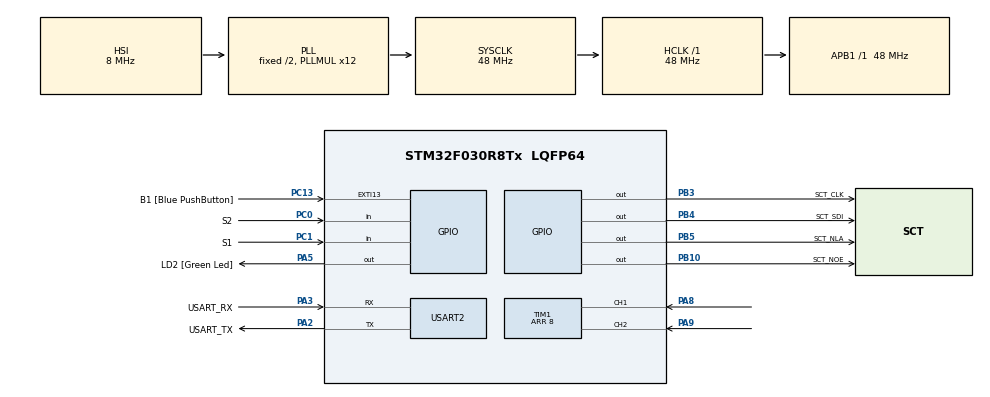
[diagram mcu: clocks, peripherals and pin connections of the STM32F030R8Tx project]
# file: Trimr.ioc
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Mcu.Family=STM32F0
Mcu.Name=STM32F030R8Tx
Mcu.Package=LQFP64
PA13.GPIO_Label=TMS
PA13.Mode=Serial_Wire
PA13.Signal=SYS_SWDIO
PA14.GPIO_Label=TCK
PA14.Mode=Serial_Wire
PA14.Signal=SYS_SWCLK
PA2.GPIO_Label=USART_TX
PA2.GPIO_Mode=GPIO_MODE_AF_PP
PA2.GPIO_PuPd=GPIO_NOPULL
PA2.GPIO_Speed=GPIO_SPEED_FREQ_LOW
PA2.Mode=Asynchronous
PA2.Signal=USART2_TX
PA3.GPIO_Label=USART_RX
PA3.GPIO_Mode=GPIO_MODE_AF_PP
PA3.GPIO_PuPd=GPIO_NOPULL
PA3.GPIO_Speed=GPIO_SPEED_FREQ_LOW
PA3.Mode=Asynchronous
PA3.Signal=USART2_RX
PA5.GPIO_Label=LD2 [Green Led]
PA5.GPIO_Mode=GPIO_MODE_OUTPUT_PP
PA5.GPIO_PuPd=GPIO_NOPULL
PA5.GPIO_Speed=GPIO_SPEED_FREQ_LOW
PA5.Signal=GPIO_Output
PA8.Signal=S_TIM1_CH1
PA9.Signal=S_TIM1_CH2
PB10.GPIO_Label=SCT_NOE
PB10.Signal=GPIO_Output
PB3.GPIO_Label=SCT_CLK
PB3.Signal=GPIO_Output
PB4.GPIO_Label=SCT_SDI
PB4.Signal=GPIO_Output
PB5.GPIO_Label=SCT_NLA
PB5.Signal=GPIO_Output
PC0.GPIO_Label=S2
PC0.GPIO_PuPd=GPIO_PULLUP
PC0.Signal=GPIO_Input
PC1.GPIO_Label=S1
PC1.GPIO_PuPd=GPIO_PULLUP
PC1.Signal=GPIO_Input
PC13.GPIO_Label=B1 [Blue PushButton]
PC13.GPIO_ModeDefaultEXTI=GPIO_MODE_IT_FALLING
PC13.Signal=GPXTI13
PC14-OSC32_IN.Mode=LSE-External-Oscillator
PC14-OSC32_IN.Signal=RCC_OSC32_IN
PC15-OSC32_OUT.Mode=LSE-External-Oscillator
PC15-OSC32_OUT.Signal=RCC_OSC32_OUT
PF0-OSC_IN.Mode=HSE-External-Clock-Source
PF0-OSC_IN.Signal=RCC_OSC_IN
PF1-OSC_OUT.Signal=RCC_OSC_OUT
ProjectManager.HeapSize=0x200
ProjectManager.StackSize=0x400
ProjectManager.TargetToolchain=STM32CubeIDE
RCC.AHBFreq_Value=48000000
RCC.APB1Freq_Value=48000000
RCC.APB1TimFreq_Value=48000000
RCC.HCLKFreq_Value=48000000
RCC.PLLMUL=RCC_PLL_MUL12
RCC.SYSCLKFreq_VALUE=48000000
RCC.SYSCLKSource=RCC_SYSCLKSOURCE_PLLCLK
SH.S_TIM1_CH1.0=TIM1_CH1,Encoder_Interface
SH.S_TIM1_CH2.0=TIM1_CH2,Encoder_Interface
TIM1.IC2Polarity=TIM_ICPOLARITY_FALLING
TIM1.Period=8
USART2.VirtualMode-Asynchronous=VM_ASYNC
board=NUCLEO-F030R8

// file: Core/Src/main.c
/* USER CODE BEGIN Header */
/**
  ******************************************************************************
  * @file           : main.c
  * @brief          : Main program body
  ******************************************************************************
  * @attention
  *
  * Copyright (c) 2022 STMicroelectronics.
  * All rights reserved.
  *
  * This software is licensed under terms that can be found in the LICENSE file
  * in the root directory of this software component.
  * If no LICENSE file comes with this software, it is provided AS-IS.
  *
  ******************************************************************************
  */
/* USER CODE END Header */
#include "main.h"

/* USER CODE BEGIN Includes */
#include "sct.h"
/* USER CODE END Includes */

TIM_HandleTypeDef htim1;

UART_HandleTypeDef huart2;

void SystemClock_Config(void);
static void MX_GPIO_Init(void);
static void MX_USART2_UART_Init(void);
static void MX_TIM1_Init(void);

/* USER CODE BEGIN 0 */
void pozdrav()
{
	uint8_t bey = __HAL_TIM_GET_COUNTER(&htim1);

	if(bey >4)
	{
		sct_value(111, bey);
	}
}
/* USER CODE END 0 */

int main(void)
{

  /* MCU Configuration--------------------------------------------------------*/

  /* Reset of all peripherals, Initializes the Flash interface and the Systick. */
  HAL_Init();

  /* Configure the system clock */
  SystemClock_Config();

  /* Initialize all configured peripherals */
  MX_GPIO_Init();
  MX_USART2_UART_Init();
  MX_TIM1_Init();
  /* USER CODE BEGIN 2 */
  sct_init();
  sct_led(0x7A5C36DE);
  HAL_Delay(1000);
  HAL_TIM_Encoder_Start(&htim1, htim1.Channel);
  /* USER CODE END 2 */

  /* Infinite loop */
  while (1)
  {

    /* USER CODE BEGIN 3 */
	uint32_t last;

	HAL_Delay(50);

	  static enum {SHOW_LED, SHOW_pozdrav} state = SHOW_LED;

	  if(HAL_GPIO_ReadPin(S1_GPIO_Port,S1_Pin)==0)
	  {
		  last=HAL_GetTick();
		  state= SHOW_LED;
	  }
	  else if(HAL_GPIO_ReadPin(S2_GPIO_Port,S2_Pin)==0)
	  {
		  last=HAL_GetTick();
		  state= SHOW_pozdrav;
	  }

	  if (state == SHOW_pozdrav)
	  {
		  pozdrav();
	  }
	  else if(state == SHOW_LED)
	  {
		  sct_value(__HAL_TIM_GET_COUNTER(&htim1),__HAL_TIM_GET_COUNTER(&htim1));
	  }

	  if(HAL_GetTick()-last > 1000)
	  {
		  state=SHOW_LED;
	  }

  }
  /* USER CODE END 3 */
}

void SystemClock_Config(void)
{
  RCC_OscInitTypeDef RCC_OscInitStruct = {0};
  RCC_ClkInitTypeDef RCC_ClkInitStruct = {0};

  /** Initializes the RCC Oscillators according to the specified parameters
  * in the RCC_OscInitTypeDef structure.
  */
  RCC_OscInitStruct.OscillatorType = RCC_OSCILLATORTYPE_HSI;
  RCC_OscInitStruct.HSIState = RCC_HSI_ON;
  RCC_OscInitStruct.HSICalibrationValue = RCC_HSICALIBRATION_DEFAULT;
  RCC_OscInitStruct.PLL.PLLState = RCC_PLL_ON;
  RCC_OscInitStruct.PLL.PLLSource = RCC_PLLSOURCE_HSI;
  RCC_OscInitStruct.PLL.PLLMUL = RCC_PLL_MUL12;
  RCC_OscInitStruct.PLL.PREDIV = RCC_PREDIV_DIV1;
  if (HAL_RCC_OscConfig(&RCC_OscInitStruct) != HAL_OK)
  {
    Error_Handler();
  }
  /** Initializes the CPU, AHB and APB buses clocks
  */
  RCC_ClkInitStruct.ClockType = RCC_CLOCKTYPE_HCLK|RCC_CLOCKTYPE_SYSCLK
                              |RCC_CLOCKTYPE_PCLK1;
  RCC_ClkInitStruct.SYSCLKSource = RCC_SYSCLKSOURCE_PLLCLK;
  RCC_ClkInitStruct.AHBCLKDivider = RCC_SYSCLK_DIV1;
  RCC_ClkInitStruct.APB1CLKDivider = RCC_HCLK_DIV1;

  if (HAL_RCC_ClockConfig(&RCC_ClkInitStruct, FLASH_LATENCY_1) != HAL_OK)
  {
    Error_Handler();
  }
}

static void MX_TIM1_Init(void)
{

  TIM_Encoder_InitTypeDef sConfig = {0};
  TIM_MasterConfigTypeDef sMasterConfig = {0};

  htim1.Instance = TIM1;
  htim1.Init.Prescaler = 0;
  htim1.Init.CounterMode = TIM_COUNTERMODE_UP;
  htim1.Init.Period = 8;
  htim1.Init.ClockDivision = TIM_CLOCKDIVISION_DIV1;
  htim1.Init.RepetitionCounter = 0;
  htim1.Init.AutoReloadPreload = TIM_AUTORELOAD_PRELOAD_DISABLE;
  sConfig.EncoderMode = TIM_ENCODERMODE_TI1;
  sConfig.IC1Polarity = TIM_ICPOLARITY_RISING;
  sConfig.IC1Selection = TIM_ICSELECTION_DIRECTTI;
  sConfig.IC1Prescaler = TIM_ICPSC_DIV1;
  sConfig.IC1Filter = 0;
  sConfig.IC2Polarity = TIM_ICPOLARITY_FALLING;
  sConfig.IC2Selection = TIM_ICSELECTION_DIRECTTI;
  sConfig.IC2Prescaler = TIM_ICPSC_DIV1;
  sConfig.IC2Filter = 0;
  if (HAL_TIM_Encoder_Init(&htim1, &sConfig) != HAL_OK)
  {
    Error_Handler();
  }
  sMasterConfig.MasterOutputTrigger = TIM_TRGO_RESET;
  sMasterConfig.MasterSlaveMode = TIM_MASTERSLAVEMODE_DISABLE;
  if (HAL_TIMEx_MasterConfigSynchronization(&htim1, &sMasterConfig) != HAL_OK)
  {
    Error_Handler();
  }

}

static void MX_USART2_UART_Init(void)
{

  huart2.Instance = USART2;
  huart2.Init.BaudRate = 38400;
  huart2.Init.WordLength = UART_WORDLENGTH_8B;
  huart2.Init.StopBits = UART_STOPBITS_1;
  huart2.Init.Parity = UART_PARITY_NONE;
  huart2.Init.Mode = UART_MODE_TX_RX;
  huart2.Init.HwFlowCtl = UART_HWCONTROL_NONE;
  huart2.Init.OverSampling = UART_OVERSAMPLING_16;
  huart2.Init.OneBitSampling = UART_ONE_BIT_SAMPLE_DISABLE;
  huart2.AdvancedInit.AdvFeatureInit = UART_ADVFEATURE_NO_INIT;
  if (HAL_UART_Init(&huart2) != HAL_OK)
  {
    Error_Handler();
  }

}

static void MX_GPIO_Init(void)
{
  GPIO_InitTypeDef GPIO_InitStruct = {0};

  /* GPIO Ports Clock Enable */
  __HAL_RCC_GPIOC_CLK_ENABLE();
  __HAL_RCC_GPIOF_CLK_ENABLE();
  __HAL_RCC_GPIOA_CLK_ENABLE();
  __HAL_RCC_GPIOB_CLK_ENABLE();

  /*Configure GPIO pin Output Level */
  HAL_GPIO_WritePin(GPIOA, GPIO_PIN_5, GPIO_PIN_RESET);

  /*Configure GPIO pin Output Level */
  HAL_GPIO_WritePin(GPIOB, GPIO_PIN_10|GPIO_PIN_3|GPIO_PIN_4|GPIO_PIN_5, GPIO_PIN_RESET);

  /*Configure GPIO pin : PC13 */
  GPIO_InitStruct.Pin = GPIO_PIN_13;
  GPIO_InitStruct.Mode = GPIO_MODE_IT_FALLING;
  GPIO_InitStruct.Pull = GPIO_NOPULL;
  HAL_GPIO_Init(GPIOC, &GPIO_InitStruct);

  /*Configure GPIO pins : PC0 PC1 */
  GPIO_InitStruct.Pin = GPIO_PIN_0|GPIO_PIN_1;
  GPIO_InitStruct.Mode = GPIO_MODE_INPUT;
  GPIO_InitStruct.Pull = GPIO_PULLUP;
  HAL_GPIO_Init(GPIOC, &GPIO_InitStruct);

  /*Configure GPIO pin : PA5 */
  GPIO_InitStruct.Pin = GPIO_PIN_5;
  GPIO_InitStruct.Mode = GPIO_MODE_OUTPUT_PP;
  GPIO_InitStruct.Pull = GPIO_NOPULL;
  GPIO_InitStruct.Speed = GPIO_SPEED_FREQ_LOW;
  HAL_GPIO_Init(GPIOA, &GPIO_InitStruct);

  /*Configure GPIO pins : PB10 PB3 PB4 PB5 */
  GPIO_InitStruct.Pin = GPIO_PIN_10|GPIO_PIN_3|GPIO_PIN_4|GPIO_PIN_5;
  GPIO_InitStruct.Mode = GPIO_MODE_OUTPUT_PP;
  GPIO_InitStruct.Pull = GPIO_NOPULL;
  GPIO_InitStruct.Speed = GPIO_SPEED_FREQ_LOW;
  HAL_GPIO_Init(GPIOB, &GPIO_InitStruct);

}

void Error_Handler(void)
{
  __disable_irq();
  while (1)
  {
  }
}
